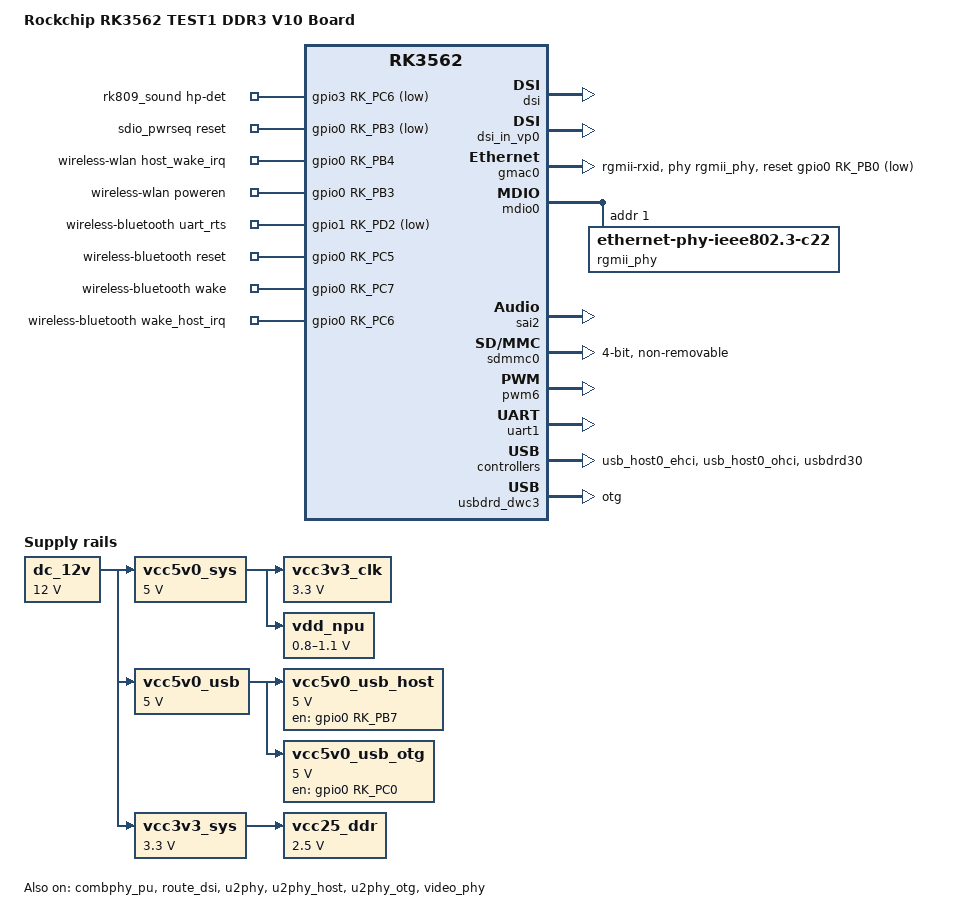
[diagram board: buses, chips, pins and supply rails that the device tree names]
// SPDX-License-Identifier: (GPL-2.0+ OR MIT)
/*
 * Copyright (c) 2022 Rockchip Electronics Co., Ltd.
 *
 */

/dts-v1/;

#include "rk3562.dtsi"
#include "rk3562-evb.dtsi"
#include <dt-bindings/gpio/gpio.h>
#include <dt-bindings/pinctrl/rockchip.h>

/ {
	model = "Rockchip RK3562 TEST1 DDR3 V10 Board";
	compatible = "rockchip,rk3562-test1-ddr3-v10", "rockchip,rk3562";

	dc_12v: dc-12v {
		compatible = "regulator-fixed";
		regulator-name = "dc_12v";
		regulator-always-on;
		regulator-boot-on;
		regulator-min-microvolt = <12000000>;
		regulator-max-microvolt = <12000000>;
	};

	rk809_sound: rk809-sound {
		status = "okay";
		compatible = "rockchip,multicodecs-card";
		rockchip,card-name = "rockchip-rk809";
		hp-det-gpio = <&gpio3 RK_PC6 GPIO_ACTIVE_LOW>;
		rockchip,format = "i2s";
		rockchip,mclk-fs = <256>;
		rockchip,cpu = <&sai2>;
		rockchip,codec = <&rk809_codec>;
		pinctrl-names = "default";
		pinctrl-0 = <&hp_det>;
	};

	sdio_pwrseq: sdio-pwrseq {
		compatible = "mmc-pwrseq-simple";
		clocks = <&rk809 1>;
		clock-names = "ext_clock";
		pinctrl-names = "default";
		pinctrl-0 = <&wifi_enable_h>;

		/*
		 * On the module itself this is one of these (depending
		 * on the actual card populated):
		 * - SDIO_RESET_L_WL_REG_ON
		 * - PDN (power down when low)
		 */
		post-power-on-delay-ms = <200>;
		reset-gpios = <&gpio0 RK_PB3 GPIO_ACTIVE_LOW>;
	};

	vcc5v0_sys: vcc5v0-sys {
		compatible = "regulator-fixed";
		regulator-name = "vcc5v0_sys";
		regulator-always-on;
		regulator-boot-on;
		regulator-min-microvolt = <5000000>;
		regulator-max-microvolt = <5000000>;
		vin-supply = <&dc_12v>;
	};

	vcc5v0_usb: vcc5v0-usb {
		compatible = "regulator-fixed";
		regulator-name = "vcc5v0_usb";
		regulator-always-on;
		regulator-boot-on;
		regulator-min-microvolt = <5000000>;
		regulator-max-microvolt = <5000000>;
		vin-supply = <&dc_12v>;
	};

	vcc5v0_usb_host: vcc5v0-usb-host {
		compatible = "regulator-fixed";
		regulator-name = "vcc5v0_usb_host";
		regulator-boot-on;
		regulator-always-on;
		regulator-min-microvolt = <5000000>;
		regulator-max-microvolt = <5000000>;
		enable-active-high;
		gpio = <&gpio0 RK_PB7 GPIO_ACTIVE_HIGH>;
		vin-supply = <&vcc5v0_usb>;
		pinctrl-names = "default";
		pinctrl-0 = <&usb_host_pwren>;
	};

	vcc5v0_usb_otg: vcc5v0-usb-otg {
		compatible = "regulator-fixed";
		regulator-name = "vcc5v0_usb_otg";
		regulator-min-microvolt = <5000000>;
		regulator-max-microvolt = <5000000>;
		enable-active-high;
		gpio = <&gpio0 RK_PC0 GPIO_ACTIVE_HIGH>;
		vin-supply = <&vcc5v0_usb>;
		pinctrl-names = "default";
		pinctrl-0 = <&usb_otg_pwren>;
	};

	vcc3v3_clk: vcc3v3-clk {
		compatible = "regulator-fixed";
		regulator-name = "vcc3v3_clk";
		regulator-min-microvolt = <3300000>;
		regulator-max-microvolt = <3300000>;
		vin-supply = <&vcc5v0_sys>;
	};

	vcc3v3_sys: vcc-sys {
		compatible = "regulator-fixed";
		regulator-name = "vcc3v3_sys";
		regulator-always-on;
		regulator-boot-on;
		regulator-min-microvolt = <3300000>;
		regulator-max-microvolt = <3300000>;
		vin-supply = <&dc_12v>;
	};

	vcc25_ddr: vcc25-ddr {
		compatible = "regulator-fixed";
		regulator-name = "vcc25_ddr";
		regulator-always-on;
		regulator-boot-on;
		regulator-min-microvolt = <2500000>;
		regulator-max-microvolt = <2500000>;
		vin-supply = <&vcc3v3_sys>;
	};

	vdd_npu: vdd-npu {
		compatible = "pwm-regulator";
		pwms = <&pwm6 0 5000 1>;
		regulator-name = "vdd_npu";
		regulator-min-microvolt = <800000>;
		regulator-max-microvolt = <1100000>;
		regulator-init-microvolt = <900000>;
		regulator-always-on;
		regulator-boot-on;
		regulator-settling-time-up-us = <250>;
		pwm-supply = <&vcc5v0_sys>;
		status = "okay";
	};

	wireless-wlan {
		compatible = "wlan-platdata";
		rockchip,grf = <&sys_grf>;
		wifi_chip_type = "ap6275s";
		pinctrl-names = "default";
		pinctrl-0 = <&wifi_host_wake_irq>;
		WIFI,host_wake_irq = <&gpio0 RK_PB4 GPIO_ACTIVE_HIGH>;
		WIFI,poweren_gpio = <&gpio0 RK_PB3 GPIO_ACTIVE_HIGH>;
		status = "okay";
	};

	wireless-bluetooth {
		compatible = "bluetooth-platdata";
		clocks = <&rk809 1>;
		clock-names = "ext_clock";
		//wifi-bt-power-toggle;
		uart_rts_gpios = <&gpio1 RK_PD2 GPIO_ACTIVE_LOW>;
		pinctrl-names = "default", "rts_gpio";
		pinctrl-0 = <&uart1m0_rtsn>;
		pinctrl-1 = <&uart1_gpios>;
		BT,reset_gpio    = <&gpio0 RK_PC5 GPIO_ACTIVE_HIGH>;
		BT,wake_gpio     = <&gpio0 RK_PC7 GPIO_ACTIVE_HIGH>;
		BT,wake_host_irq = <&gpio0 RK_PC6 GPIO_ACTIVE_HIGH>;
		status = "okay";
	};
};

&combphy_pu {
	status = "okay";
};

&dsi {
	status = "okay";
};

&dsi_in_vp0 {
	status = "okay";
};

&dsi_panel {
	power-supply = <&vcc3v3_lcd_n>;
	reset-gpios = <&gpio0 RK_PC4 GPIO_ACTIVE_LOW>;
	pinctrl-names = "default";
	pinctrl-0 = <&lcd_rst_gpio>;
};

&gmac0 {
	/* Use rgmii-rxid mode to disable rx delay inside Soc */
	phy-mode = "rgmii-rxid";
	clock_in_out = "output";

	snps,reset-gpio = <&gpio0 RK_PB0 GPIO_ACTIVE_LOW>;
	snps,reset-active-low;
	/* Reset time is 20ms, 100ms for rtl8211f */
	snps,reset-delays-us = <0 20000 100000>;

	tx_delay = <0x3f>;
	/* rx_delay = <0x3f>; */

	pinctrl-names = "default";
	pinctrl-0 = <&rgmiim1_miim
		     &rgmiim1_tx_bus2
		     &rgmiim1_rx_bus2
		     &rgmiim1_rgmii_clk
		     &rgmiim1_rgmii_bus
		     &ethm1_pins>;

	phy-handle = <&rgmii_phy>;
	status = "okay";
};

&gt1x {
	compatible = "goodix,gt1x";
	reg = <0x14>;
	pinctrl-names = "default";
	pinctrl-0 = <&touch_gpio>;
	goodix,rst-gpio = <&gpio0 RK_PA0 GPIO_ACTIVE_HIGH>;
	goodix,irq-gpio = <&gpio0 RK_PA4 GPIO_ACTIVE_LOW>;
	/*
	 * power-supply should switche to vcc3v3_lcd1_n
	 * when mipi panel is connected to dsi1.
	 */
	power-supply = <&vcc3v3_lcd_n>;
};

&mdio0 {
	rgmii_phy: phy@1 {
		compatible = "ethernet-phy-ieee802.3-c22";
		reg = <0x1>;
		clocks = <&cru CLK_GMAC_ETH_OUT2IO>;
		assigned-clocks = <&cru CLK_GMAC_ETH_OUT2IO>;
		assigned-clock-rates = <25000000>;
	};
};

&pinctrl {
	headphone {
		hp_det: hp-det {
			rockchip,pins = <3 RK_PC6 RK_FUNC_GPIO &pcfg_pull_none>;
		};
	};

	lcd {
		lcd_rst_gpio: lcd-rst-gpio {
			rockchip,pins = <0 RK_PC4 RK_FUNC_GPIO &pcfg_pull_none>;
		};
	};

	sdio-pwrseq {
		wifi_enable_h: wifi-enable-h {
			rockchip,pins = <0 RK_PB3 RK_FUNC_GPIO &pcfg_pull_none>;
		};
	};

	touch {
		touch_gpio: touch-gpio {
			rockchip,pins =
				<0 RK_PA4 RK_FUNC_GPIO &pcfg_pull_up>,
				<0 RK_PA0 RK_FUNC_GPIO &pcfg_pull_none>;
		};
	};

	usb {
		usb_host_pwren: usb-host-pwren {
			rockchip,pins = <0 RK_PB7 RK_FUNC_GPIO &pcfg_pull_none>;
		};

		usb_otg_pwren: usb-otg-pwren {
			rockchip,pins = <0 RK_PC0 RK_FUNC_GPIO &pcfg_pull_none>;
		};
	};

	wireless-wlan {
		wifi_host_wake_irq: wifi-host-wake-irq {
			rockchip,pins = <0 RK_PB4 RK_FUNC_GPIO &pcfg_pull_down>;
		};
	};

	wireless-bluetooth {
		uart1_gpios: uart1-gpios {
			rockchip,pins = <1 RK_PD2 RK_FUNC_GPIO &pcfg_pull_none>;
		};
	};
};

&route_dsi {
	status = "okay";
};

&sai2 {
	status = "okay";
	pinctrl-names = "default";
	pinctrl-0 = <&i2s2m1_lrck
		     &i2s2m1_sclk
		     &i2s2m1_sdi
		     &i2s2m1_sdo>;
};

&sdmmc0 {
	no-sd;
	no-mmc;
	bus-width = <4>;
	disable-wp;
	cap-sd-highspeed;
	cap-sdio-irq;
	keep-power-in-suspend;
	mmc-pwrseq = <&sdio_pwrseq>;
	non-removable;
	pinctrl-names = "default";
	pinctrl-0 = <&sdmmc0_bus4 &sdmmc0_clk &sdmmc0_cmd>;
	sd-uhs-sdr104;
	status = "okay";
};

&sdmmc1 {
	no-sdio;
	no-mmc;
	bus-width = <4>;
	cap-mmc-highspeed;
	cap-sd-highspeed;
	disable-wp;
	sd-uhs-sdr104;
	vmmc-supply = <&vcc3v3_sd>;
	vqmmc-supply = <&vccio_sd>;
	pinctrl-names = "default";
	pinctrl-0 = <&sdmmc1_bus4 &sdmmc1_clk &sdmmc1_cmd &sdmmc1_det>;
	/* Should disable gmac0 and fix hardware if enabling sdmmc1 */
	status = "disabled";
};

&pwm6 {
	status = "okay";
};

&u2phy {
	status = "okay";
};

&u2phy_host {
	status = "okay";
	phy-supply = <&vcc5v0_usb_host>;
};

&u2phy_otg {
	status = "okay";
	vbus-supply = <&vcc5v0_usb_otg>;
};

&uart1 {
	status = "okay";
	pinctrl-names = "default";
	pinctrl-0 = <&uart1m0_xfer &uart1m0_ctsn>;
};

&usb_host0_ehci {
	status = "okay";
};

&usb_host0_ohci {
	status = "okay";
};

&usbdrd30 {
	status = "okay";
};

&usbdrd_dwc3 {
	status = "okay";
	dr_mode = "otg";
	extcon = <&u2phy>;
};

&vcc3v3_lcd_n {
	gpio = <&gpio0 RK_PC3 GPIO_ACTIVE_HIGH>;
	enable-active-high;
};

&video_phy {
	status = "okay";
};
